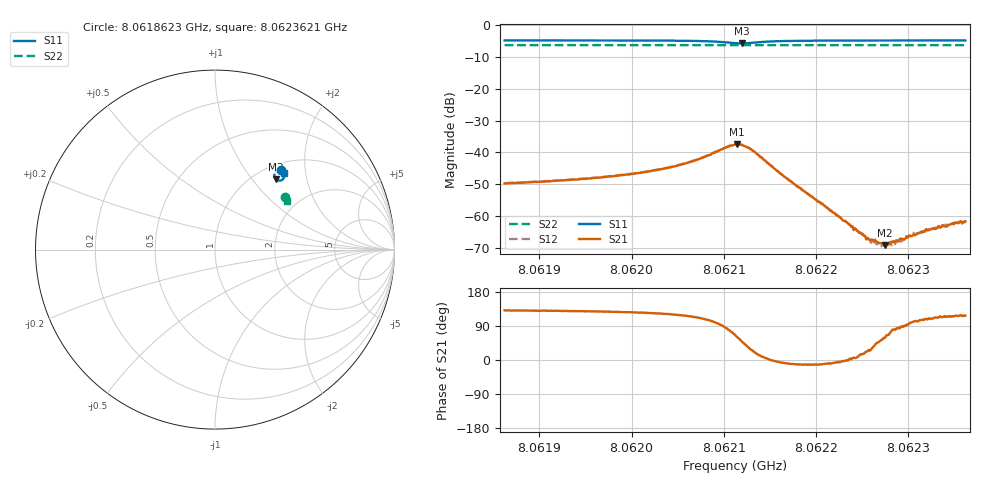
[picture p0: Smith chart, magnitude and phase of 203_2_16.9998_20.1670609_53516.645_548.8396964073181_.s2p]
#  HZ  S  RI  R  50.00
! Rohde & Schwarz Vector Network Analyzer
! Rohde-Schwarz,ZNB20-2Port,1311601062101988,3.16
! Created: UTC 3/20/2024, 11:01:09 PM
! freq[Hz]  re:S11  im:S11  re:S21  im:S21  re:S12  im:S12  re:S22  im:S22
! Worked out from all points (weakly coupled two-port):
!   401 points, 8.0618623 GHz to 8.0623621 GHz, reference 50 ohm
!   highest |S21| = -37.44 dB at 8.0621147 GHz (marker M1); lowest = -69.2 dB at 8.0622746 GHz (marker M2)
!   lowest |S11| = -5.7 dB at 8.0621197 GHz (marker M3), VSWR 3.15, Z = 62 + j66.3 ohm
!   |S11| at or under -10 dB: nowhere
!   |S22| runs from -6.3 to -6.3 dB; largest |S21 - S12| = 0.00095
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8.06186231e9  0.3675 0.4432  -0.00214 0.00245  -0.00199 0.0026  0.3873 0.2947
8.06194603e9  0.374 0.4373  -0.00238 0.00297  -0.00222 0.00312  0.39 0.2904
8.06198851e9  0.3778 0.4331  -0.00261 0.00353  -0.00245 0.00368  0.3916 0.2884
8.06202974e9  0.382 0.427  -0.00289 0.0045  -0.00265 0.00473  0.3929 0.2862
8.06206847e9  0.3858 0.4149  -0.00294 0.00681  -0.00255 0.00709  0.3943 0.2837
8.06210346e9  0.3711 0.387  0.00146 0.012  0.00228 0.012  0.3943 0.2812
8.0621122e9  0.3544 0.384  0.00528 0.012  0.00618 0.0119  0.3938 0.2808
8.0621147e9  0.3488 0.3854  0.00663 0.0117  0.00737 0.0112  0.3935 0.2809
8.0621197e9  0.3389 0.3914  0.00864 0.00977  0.00931 0.00932  0.3934 0.2811
8.06213095e9  0.3304 0.4141  0.00977 0.00461  0.01 0.00387  0.3939 0.2817
8.06216343e9  0.3533 0.439  0.00439 -0.000536  0.00439 -0.000793  0.3962 0.2808
8.06219592e9  0.3661 0.4385  0.00197 -0.000427  0.00191 -0.000546  0.3978 0.2792
8.06225089e9  0.3761 0.4344  0.000481 0.000141  0.000517 8.61e-05  0.3998 0.2762
8.06225714e9  0.3768 0.434  0.000386 0.000194  0.000388 0.000139  0.4 0.2759
8.06226839e9  0.3782 0.4331  0.000251 0.00028  0.000245 0.000248  0.4004 0.2753
8.06227463e9  0.3788 0.4327  0.000183 0.000295  0.000197 0.000318  0.4007 0.275
8.06227963e9  0.3793 0.4325  0.000127 0.000331  0.000134 0.000363  0.4009 0.2748
8.06229337e9  0.3807 0.4314  6.79e-06 0.000437  2.64e-05 0.000397  0.4012 0.2742
8.06229962e9  0.3811 0.4309  -1.96e-05 0.000455  -1e-05 0.000457  0.4016 0.2737
8.06231711e9  0.3828 0.4298  -0.000157 0.000555  -0.000135 0.000564  0.402 0.2728
8.06234835e9  0.3854 0.4279  -0.000332 0.000692  -0.000305 0.000708  0.403 0.2712
8.06236209e9  0.3863 0.4272  -0.000376 0.000732  -0.000346 0.000739  0.4036 0.2706
